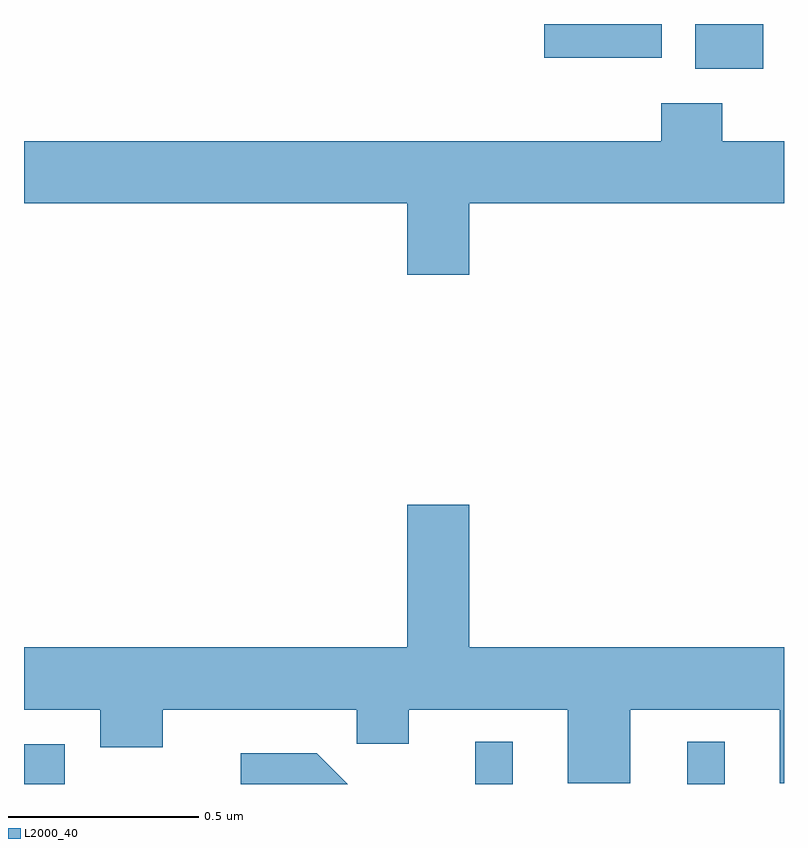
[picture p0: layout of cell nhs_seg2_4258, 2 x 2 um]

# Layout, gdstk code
import gdstk
lib = gdstk.Library(unit=1e-6, precision=1e-09)
def R(c, l, rs):  # rectangles x0, y0, x1, y1
    for r in rs: c.add(gdstk.rectangle(r[:2], r[2:], *l))
def P(c, l, *ps):  # polygons
    for p in ps: c.add(gdstk.Polygon(p, *l))
L2000_40 = (2000, 40)

nhs_seg2_4258 = lib.new_cell('nhs_seg2_4258')
R(nhs_seg2_4258, L2000_40, [(164,620.8,164.107,620.904), (165.188,620.8,165.286,620.911), (165.746,620.8,165.844,620.911), (165.767,622.682,165.946,622.8), (165.369,622.711,165.678,622.8)])
P(nhs_seg2_4258, L2000_40, [(165.172,622.328),(166,622.328),(166,622.492),(165.837,622.492),(165.837,622.591),(165.677,622.591),(165.677,622.492),(164,622.492),(164,622.328),(165.008,622.328),(165.008,622.14),(165.172,622.14)],
  [(165.595,620.996),(165.989,620.996),(165.989,620.802),(166,620.802),(166,621.16),(165.172,621.16),(165.172,621.535),(165.008,621.535),(165.008,621.16),(164,621.16),(164,620.996),(164.201,620.996),(164.201,620.897),(164.365,620.897),(164.365,620.996),(164.875,620.996),(164.875,620.906),(165.013,620.906),(165.013,620.996),(165.431,620.996),(165.431,620.802),(165.595,620.802)],
  [(164.771,620.881),(164.571,620.881),(164.571,620.8),(164.852,620.8)])

lib.write_gds('nhs_seg2_4258.gds')
